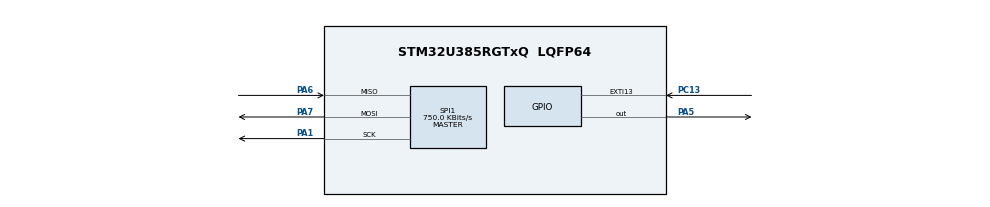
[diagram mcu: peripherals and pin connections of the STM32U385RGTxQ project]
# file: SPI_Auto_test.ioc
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CORTEX_M33_NS.userName=CORTEX_M33
GPDMA1.CIRCULARMODE_GPDMACH7=DISABLE
GPDMA1.DATAHANDLING_GPDMACH6=ENABLE
GPDMA1.DATAHANDLING_GPDMACH7=ENABLE
GPDMA1.DESTINC_GPDMACH7=DMA_DINC_INCREMENTED
GPDMA1.DIRECTION_GPDMACH6=DMA_MEMORY_TO_PERIPH
GPDMA1.IPHANDLE_GPDMACH6-SIMPLEREQUEST_GPDMACH6=__NULL
GPDMA1.IPHANDLE_GPDMACH7-SIMPLEREQUEST_GPDMACH7=__NULL
GPDMA1.REQUEST_GPDMACH6=GPDMA1_REQUEST_SPI1_TX
GPDMA1.REQUEST_GPDMACH7=GPDMA1_REQUEST_SPI1_RX
GPDMA1.SRCINC_GPDMACH6=DMA_SINC_INCREMENTED
Mcu.Family=STM32U3
Mcu.Name=STM32U385RGTxQ
Mcu.Package=LQFP64
NVIC.EXTI13_IRQn=true\:0\:0\:false\:false\:true\:true\:true\:true
NVIC.GPDMA1_Channel6_IRQn=true\:0\:0\:false\:false\:true\:true\:true\:true
NVIC.GPDMA1_Channel7_IRQn=true\:0\:0\:false\:false\:true\:true\:true\:true
NVIC.PriorityGroup=NVIC_PRIORITYGROUP_4
NVIC.SPI1_IRQn=true\:0\:0\:false\:false\:true\:false\:true\:true
PA1.Mode=Full_Duplex_Master
PA1.Signal=SPI1_SCK
PA5.Signal=GPIO_Output
PA6.Mode=Full_Duplex_Master
PA6.Signal=SPI1_MISO
PA7.Mode=Full_Duplex_Master
PA7.Signal=SPI1_MOSI
PC13.GPIO_PuPd=GPIO_PULLDOWN
PC13.Signal=GPXTI13
PC14-OSC32_IN\ (PC14).Mode=LSE-External-Oscillator
PC14-OSC32_IN\ (PC14).Signal=RCC_OSC32_IN
PC15-OSC32_OUT\ (PC15).Mode=LSE-External-Oscillator
PC15-OSC32_OUT\ (PC15).Signal=RCC_OSC32_OUT
ProjectManager.HeapSize=0x200
ProjectManager.StackSize=0x400
ProjectManager.TargetToolchain=STM32CubeIDE
RCC.ADCFreq_Value=48000000
RCC.AHBFreq_Value=48000000
RCC.APB1Freq_Value=48000000
RCC.APB1TimFreq_Value=48000000
RCC.APB2Freq_Value=48000000
RCC.APB2TimFreq_Value=48000000
RCC.APB3Freq_Value=48000000
RCC.CortexFreq_Value=6000000
RCC.HCLKFreq_Value=48000000
RCC.HSE_VALUE=16000000
RCC.HSI48_VALUE=48000000
RCC.HSI_VALUE=16000000
RCC.LSIDIV_VALUE=32000
RCC.MSIKDIV=RCC_MSI_DIV8
RCC.MSIKSource=RCC_MSI_RC1
RCC.MSISDIV=RCC_MSI_DIV2
RCC.RTCClockSelection=RCC_RTCCLKSOURCE_LSE
RCC.SPI1CLockSelection=RCC_SPI1CLKSOURCE_MSIK
RCC.SYSCLKFreq_VALUE=48000000
RCC.USBFreq_Value=48000000
RTC.WakeUpClock-WakeUp=RTC_WAKEUPCLOCK_CK_SPRE_16BITS
RTC.WakeUpCounter-WakeUp=1
SPI1.BaudRatePrescaler=SPI_BAUDRATEPRESCALER_4
SPI1.CalculateBaudRate=750.0 KBits/s
SPI1.DataSize=SPI_DATASIZE_8BIT
SPI1.Direction=SPI_DIRECTION_2LINES
SPI1.Mode=SPI_MODE_MASTER
SPI1.NSSPMode=SPI_NSS_PULSE_DISABLE
SPI1.TriggerSelection=SPI_GRP1_RTC_WUT_TRG
SPI1.TriggerState=SPI_AUTO_MODE_ENABLE
SPI1.VirtualType=VM_MASTER
VP_GPDMA1_VS_GPDMACH6.Mode=SIMPLEREQUEST_GPDMACH6
VP_GPDMA1_VS_GPDMACH7.Mode=SIMPLEREQUEST_GPDMACH7
VP_ICACHE_VS_ICACHE.Mode=DirectMappedCache
VP_PWR_VS_DBSignals.Mode=DisableDeadBatterySignals
VP_PWR_VS_LPOM.Mode=PowerOptimisation
VP_PWR_VS_SECSignals.Mode=Security/Privilege
VP_RTC_VS_RTC_Activate.Mode=RTC_Enabled
VP_RTC_VS_RTC_WakeUp_intern.Mode=WakeUp
board=custom

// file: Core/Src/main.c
/* USER CODE BEGIN Header */
/**
  ******************************************************************************
  * @file           : main.c
  * @brief          : Main program body
  ******************************************************************************
  * @attention
  *
  * Copyright (c) 2025 STMicroelectronics.
  * All rights reserved.
  *
  * This software is licensed under terms that can be found in the LICENSE file
  * in the root directory of this software component.
  * If no LICENSE file comes with this software, it is provided AS-IS.
  *
  ******************************************************************************
  */
/* USER CODE END Header */
#include "main.h"

/* USER CODE BEGIN PD */
#define BUFFERSIZE	sizeof(aTxBuffer)
/* USER CODE END PD */

RTC_HandleTypeDef hrtc;

SPI_HandleTypeDef hspi1;
DMA_HandleTypeDef handle_GPDMA1_Channel7;
DMA_HandleTypeDef handle_GPDMA1_Channel6;

/* USER CODE BEGIN PV */
uint8_t aTxBuffer[] =
		"** SPI Message ******** SPI Message ******** SPI Message ******** SPI Message ******** SPI Message ******** SPI Message";

static uint8_t aRxBuffer[BUFFERSIZE];
/* USER CODE END PV */

void SystemClock_Config(void);
static void MX_GPIO_Init(void);
static void MX_GPDMA1_Init(void);
static void MX_ICACHE_Init(void);
static void MX_SPI1_Init(void);
static void MX_RTC_Init(void);

/* USER CODE BEGIN 0 */
static uint16_t Buffercmp(uint8_t *pBuffer1, uint8_t *pBuffer2,
		uint16_t BufferLength) {
	while (BufferLength--) {
		if ((*pBuffer1) != *pBuffer2) {
			return BufferLength;
		}
		pBuffer1++;
		pBuffer2++;
	}

	return 0;
}

void HAL_GPIO_EXTI_Rising_Callback(uint16_t GPIO_Pin)
{
	/*Compare the sent and received buffers*/
	if (Buffercmp((uint8_t*) aTxBuffer, (uint8_t*) aRxBuffer, BUFFERSIZE) == 0) {
		/* RX Buffer OK */
		HAL_GPIO_TogglePin(GPIOA, GPIO_PIN_5);
	}
}
/* USER CODE END 0 */

int main(void)
{

  /* MCU Configuration--------------------------------------------------------*/

  /* Reset of all peripherals, Initializes the Flash interface and the Systick. */
  HAL_Init();

  /* USER CODE BEGIN Init */
  /*Reset backup domain and RTC wakeup timer*/
  __HAL_RCC_PWR_CLK_ENABLE();
  HAL_PWR_EnableBkUpAccess();
  __HAL_RCC_BACKUPRESET_FORCE();
  while (__HAL_RCC_GET_FLAG(RCC_FLAG_LSERDY))
		;
  __HAL_RCC_BACKUPRESET_RELEASE();

  /* USER CODE END Init */

  /* Configure the system clock */
  SystemClock_Config();

  /* USER CODE BEGIN SysInit */
  HAL_PWREx_ConfigSupply(PWR_SMPS_SUPPLY);
  /* USER CODE END SysInit */

  /* Initialize all configured peripherals */
  MX_GPIO_Init();
  MX_GPDMA1_Init();
  MX_ICACHE_Init();
  MX_SPI1_Init();
  MX_RTC_Init();
  /* USER CODE BEGIN 2 */

  /*Start the Full Duplex Communication process ########################*/
  	/* While the SPI in TransmitReceive process, user can transmit data through
  	 "aTxBuffer" buffer & receive data through "aRxBuffer" */
  	if (HAL_SPI_TransmitReceive_DMA(&hspi1, (uint8_t*) aTxBuffer,(uint8_t*) aRxBuffer, BUFFERSIZE) != HAL_OK) {
  		/* Transfer error in transmission process */
  		Error_Handler();
  	}

  	__HAL_DMA_DISABLE_IT(&handle_GPDMA1_Channel7, (DMA_IT_TC | DMA_IT_HT | DMA_IT_DTE | DMA_IT_ULE | DMA_IT_USE | DMA_IT_TO));
  	__HAL_DMA_DISABLE_IT(&handle_GPDMA1_Channel6,(DMA_IT_TC | DMA_IT_HT | DMA_IT_DTE | DMA_IT_ULE | DMA_IT_USE | DMA_IT_TO));

  	  if (HAL_RTCEx_SetWakeUpTimer(&hrtc, 1, RTC_WAKEUPCLOCK_CK_SPRE_16BITS) != HAL_OK)
  	 {
  	 Error_Handler();
  	 }

  	__HAL_RCC_GPIOA_CLK_STOP_DISABLE();
  	__HAL_RCC_GPIOC_CLK_STOP_DISABLE();
  	__HAL_RCC_SRAM2_CLK_STOP_DISABLE();

  	HAL_PWR_EnterSTOPMode(PWR_LOWPOWERMODE_STOP1, PWR_STOPENTRY_WFI);

  /* USER CODE END 2 */

  /* Infinite loop */
  while (1)
  {

  }
}

void SystemClock_Config(void)
{
  RCC_OscInitTypeDef RCC_OscInitStruct = {0};
  RCC_ClkInitTypeDef RCC_ClkInitStruct = {0};

  /** Enable Epod Booster
  */
  if (HAL_RCCEx_EpodBoosterClkConfig(RCC_EPODBOOSTER_SOURCE_MSIS, RCC_EPODBOOSTER_DIV1) != HAL_OK)
  {
    Error_Handler();
  }
  if (HAL_PWREx_EnableEpodBooster() != HAL_OK)
  {
    Error_Handler();
  }

  /** Configure the main internal regulator output voltage
  */
  if (HAL_PWREx_ControlVoltageScaling(PWR_REGULATOR_VOLTAGE_SCALE2) != HAL_OK)
  {
    Error_Handler();
  }

  /** Set Flash latency before increasing MSIS
  */
  __HAL_FLASH_SET_LATENCY(FLASH_LATENCY_2);

  /** Configure LSE Drive Capability
  */
  HAL_PWR_EnableBkUpAccess();
  __HAL_RCC_LSEDRIVE_CONFIG(RCC_LSEDRIVE_LOW);

  /** Initializes the CPU, AHB and APB buses clocks
  */
  RCC_OscInitStruct.OscillatorType = RCC_OSCILLATORTYPE_LSE|RCC_OSCILLATORTYPE_MSIS
                              |RCC_OSCILLATORTYPE_MSIK;
  RCC_OscInitStruct.LSEState = RCC_LSE_ON;
  RCC_OscInitStruct.MSISState = RCC_MSI_ON;
  RCC_OscInitStruct.MSISSource = RCC_MSI_RC0;
  RCC_OscInitStruct.MSISDiv = RCC_MSI_DIV2;
  RCC_OscInitStruct.MSIKState = RCC_MSI_ON;
  RCC_OscInitStruct.MSIKSource = RCC_MSI_RC1;
  RCC_OscInitStruct.MSIKDiv = RCC_MSI_DIV8;

  if (HAL_RCC_OscConfig(&RCC_OscInitStruct) != HAL_OK)
  {
    Error_Handler();
  }

  /** Initializes the CPU, AHB and APB buses clocks
  */
  RCC_ClkInitStruct.ClockType = RCC_CLOCKTYPE_HCLK|RCC_CLOCKTYPE_SYSCLK
                              |RCC_CLOCKTYPE_PCLK1|RCC_CLOCKTYPE_PCLK2
                              |RCC_CLOCKTYPE_PCLK3;
  RCC_ClkInitStruct.SYSCLKSource = RCC_SYSCLKSOURCE_MSIS;
  RCC_ClkInitStruct.AHBCLKDivider = RCC_SYSCLK_DIV1;
  RCC_ClkInitStruct.APB1CLKDivider = RCC_HCLK_DIV1;
  RCC_ClkInitStruct.APB2CLKDivider = RCC_HCLK_DIV1;
  RCC_ClkInitStruct.APB3CLKDivider = RCC_HCLK_DIV1;

  if (HAL_RCC_ClockConfig(&RCC_ClkInitStruct, FLASH_LATENCY_2) != HAL_OK)
  {
    Error_Handler();
  }
}

static void MX_GPDMA1_Init(void)
{

  /* Peripheral clock enable */
  __HAL_RCC_GPDMA1_CLK_ENABLE();

  /* GPDMA1 interrupt Init */
    HAL_NVIC_SetPriority(GPDMA1_Channel6_IRQn, 0, 0);
    HAL_NVIC_EnableIRQ(GPDMA1_Channel6_IRQn);
    HAL_NVIC_SetPriority(GPDMA1_Channel7_IRQn, 0, 0);
    HAL_NVIC_EnableIRQ(GPDMA1_Channel7_IRQn);

}

static void MX_ICACHE_Init(void)
{

  /** Enable instruction cache in 1-way (direct mapped cache)
  */
  if (HAL_ICACHE_ConfigAssociativityMode(ICACHE_1WAY) != HAL_OK)
  {
    Error_Handler();
  }
  if (HAL_ICACHE_Enable() != HAL_OK)
  {
    Error_Handler();
  }

}

static void MX_RTC_Init(void)
{

  RTC_PrivilegeStateTypeDef privilegeState = {0};

  /** Initialize RTC Only
  */
  hrtc.Instance = RTC;
  hrtc.Init.HourFormat = RTC_HOURFORMAT_24;
  hrtc.Init.AsynchPrediv = 127;
  hrtc.Init.SynchPrediv = 255;
  hrtc.Init.OutPut = RTC_OUTPUT_DISABLE;
  hrtc.Init.OutPutRemap = RTC_OUTPUT_REMAP_NONE;
  hrtc.Init.OutPutPolarity = RTC_OUTPUT_POLARITY_HIGH;
  hrtc.Init.OutPutType = RTC_OUTPUT_TYPE_OPENDRAIN;
  hrtc.Init.OutPutPullUp = RTC_OUTPUT_PULLUP_NONE;
  hrtc.Init.BinMode = RTC_BINARY_NONE;
  if (HAL_RTC_Init(&hrtc) != HAL_OK)
  {
    Error_Handler();
  }
  privilegeState.rtcPrivilegeFull = RTC_PRIVILEGE_FULL_NO;
  privilegeState.backupRegisterPrivZone = RTC_PRIVILEGE_BKUP_ZONE_NONE;
  privilegeState.backupRegisterStartZone2 = RTC_BKP_DR0;
  privilegeState.backupRegisterStartZone3 = RTC_BKP_DR0;
  if (HAL_RTCEx_PrivilegeModeSet(&hrtc, &privilegeState) != HAL_OK)
  {
    Error_Handler();
  }

  /** Enable the WakeUp
  */
 // not here

}

static void MX_SPI1_Init(void)
{

  SPI_AutonomousModeConfTypeDef HAL_SPI_AutonomousMode_Cfg_Struct = {0};

  /* SPI1 parameter configuration*/
  hspi1.Instance = SPI1;
  hspi1.Init.Mode = SPI_MODE_MASTER;
  hspi1.Init.Direction = SPI_DIRECTION_2LINES;
  hspi1.Init.DataSize = SPI_DATASIZE_8BIT;
  hspi1.Init.CLKPolarity = SPI_POLARITY_LOW;
  hspi1.Init.CLKPhase = SPI_PHASE_1EDGE;
  hspi1.Init.NSS = SPI_NSS_SOFT;
  hspi1.Init.BaudRatePrescaler = SPI_BAUDRATEPRESCALER_4;
  hspi1.Init.FirstBit = SPI_FIRSTBIT_MSB;
  hspi1.Init.TIMode = SPI_TIMODE_DISABLE;
  hspi1.Init.CRCCalculation = SPI_CRCCALCULATION_DISABLE;
  hspi1.Init.CRCPolynomial = 0x7;
  hspi1.Init.NSSPMode = SPI_NSS_PULSE_DISABLE;
  hspi1.Init.NSSPolarity = SPI_NSS_POLARITY_LOW;
  hspi1.Init.FifoThreshold = SPI_FIFO_THRESHOLD_01DATA;
  hspi1.Init.MasterSSIdleness = SPI_MASTER_SS_IDLENESS_00CYCLE;
  hspi1.Init.MasterInterDataIdleness = SPI_MASTER_INTERDATA_IDLENESS_00CYCLE;
  hspi1.Init.MasterReceiverAutoSusp = SPI_MASTER_RX_AUTOSUSP_DISABLE;
  hspi1.Init.MasterKeepIOState = SPI_MASTER_KEEP_IO_STATE_DISABLE;
  hspi1.Init.IOSwap = SPI_IO_SWAP_DISABLE;
  hspi1.Init.ReadyMasterManagement = SPI_RDY_MASTER_MANAGEMENT_INTERNALLY;
  hspi1.Init.ReadyPolarity = SPI_RDY_POLARITY_HIGH;
  if (HAL_SPI_Init(&hspi1) != HAL_OK)
  {
    Error_Handler();
  }
  HAL_SPI_AutonomousMode_Cfg_Struct.TriggerState = SPI_AUTO_MODE_ENABLE;
  HAL_SPI_AutonomousMode_Cfg_Struct.TriggerSelection = SPI_GRP1_RTC_WUT_TRG;
  HAL_SPI_AutonomousMode_Cfg_Struct.TriggerPolarity = SPI_TRIG_POLARITY_RISING;
  if (HAL_SPIEx_SetConfigAutonomousMode(&hspi1, &HAL_SPI_AutonomousMode_Cfg_Struct) != HAL_OK)
  {
    Error_Handler();
  }

}

static void MX_GPIO_Init(void)
{
  GPIO_InitTypeDef GPIO_InitStruct = {0};

  /* GPIO Ports Clock Enable */
  __HAL_RCC_GPIOC_CLK_ENABLE();
  __HAL_RCC_GPIOA_CLK_ENABLE();

  /*Configure GPIO pin Output Level */
  HAL_GPIO_WritePin(GPIOA, GPIO_PIN_5, GPIO_PIN_RESET);

  /*Configure GPIO pin : PC13 */
  GPIO_InitStruct.Pin = GPIO_PIN_13;
  GPIO_InitStruct.Mode = GPIO_MODE_IT_RISING;
  GPIO_InitStruct.Pull = GPIO_PULLDOWN;
  HAL_GPIO_Init(GPIOC, &GPIO_InitStruct);

  /*Configure GPIO pin : PA5 */
  GPIO_InitStruct.Pin = GPIO_PIN_5;
  GPIO_InitStruct.Mode = GPIO_MODE_OUTPUT_PP;
  GPIO_InitStruct.Pull = GPIO_NOPULL;
  GPIO_InitStruct.Speed = GPIO_SPEED_FREQ_LOW;
  HAL_GPIO_Init(GPIOA, &GPIO_InitStruct);

  /* EXTI interrupt init*/
  HAL_NVIC_SetPriority(EXTI13_IRQn, 0, 0);
  HAL_NVIC_EnableIRQ(EXTI13_IRQn);

}

void Error_Handler(void)
{
  __disable_irq();
  while (1)
  {
  }
}
